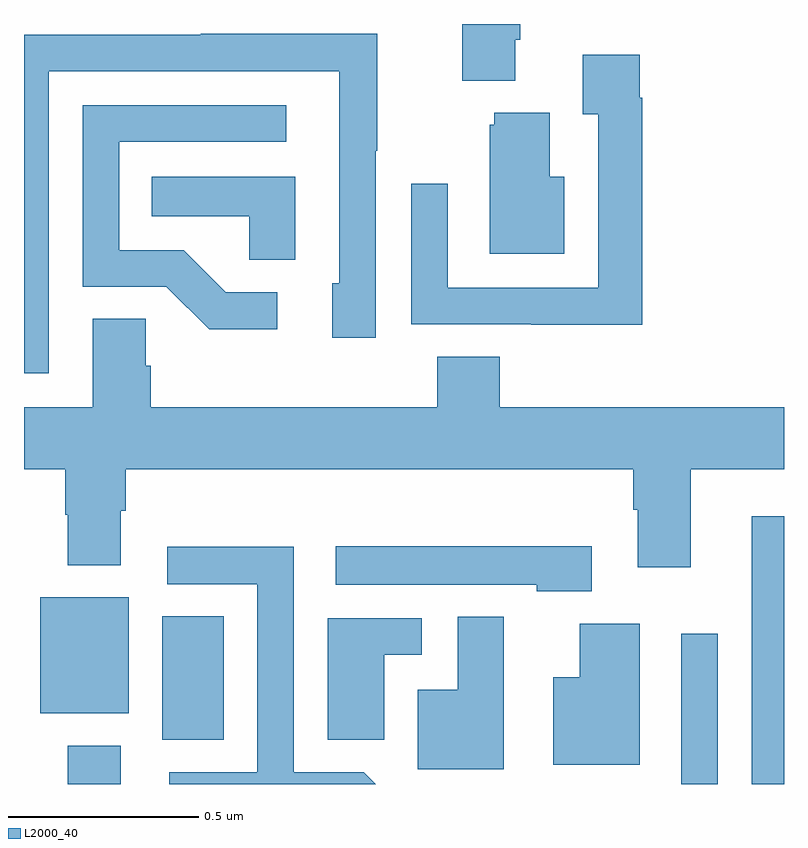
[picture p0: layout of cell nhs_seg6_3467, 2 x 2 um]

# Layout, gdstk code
import gdstk
lib = gdstk.Library(unit=1e-6, precision=1e-09)
def R(c, l, rs):  # rectangles x0, y0, x1, y1
    for r in rs: c.add(gdstk.rectangle(r[:2], r[2:], *l))
def P(c, l, *ps):  # polygons
    for p in ps: c.add(gdstk.Polygon(p, *l))
L2000_40 = (2000, 40)

nhs_seg6_3467 = lib.new_cell('nhs_seg6_3467')
R(nhs_seg6_3467, L2000_40, [(157.115,954.5,157.255,954.601), (158.73,954.5,158.826,954.895), (158.915,954.5,159,955.204), (157.364,954.616,157.525,954.941), (157.043,954.686,157.276,954.991)])
P(nhs_seg6_3467, L2000_40, [(158.293,956.458),(158.306,956.458),(158.306,956.5),(158.153,956.5),(158.153,956.351),(158.293,956.351)],
  [(157.065,956.376),(157.83,956.376),(157.83,955.818),(157.811,955.818),(157.811,955.674),(157.926,955.674),(157.926,956.167),(157.929,956.167),(157.929,956.474),(157.465,956.474),(157.465,956.472),(157,956.472),(157,955.581),(157.065,955.581)],
  [(158.627,956.306),(158.62,956.306),(158.62,956.419),(158.471,956.419),(158.471,956.263),(158.511,956.263),(158.511,955.806),(158.115,955.806),(158.115,956.08),(158.019,956.08),(158.019,955.71),(158.335,955.71),(158.335,955.709),(158.627,955.709)],
  [(157.666,955.794),(157.531,955.794),(157.42,955.905),(157.251,955.905),(157.251,956.19),(157.69,956.19),(157.69,956.286),(157.155,956.286),(157.155,955.809),(157.374,955.809),(157.487,955.697),(157.666,955.697)],
  [(158.422,956.098),(158.383,956.098),(158.383,956.266),(158.237,956.266),(158.237,956.235),(158.225,956.235),(158.225,955.895),(158.422,955.895)],
  [(157.714,956.098),(157.336,956.098),(157.336,955.994),(157.593,955.994),(157.593,955.879),(157.714,955.879)],
  [(157.181,955.492),(157,955.492),(157,955.328),(157.108,955.328),(157.108,955.208),(157.115,955.208),(157.115,955.076),(157.255,955.076),(157.255,955.219),(157.268,955.219),(157.268,955.328),(158.603,955.328),(158.603,955.222),(158.615,955.222),(158.615,955.071),(158.755,955.071),(158.755,955.328),(159,955.328),(159,955.492),(158.252,955.492),(158.252,955.625),(158.087,955.625),(158.087,955.492),(157.334,955.492),(157.334,955.601),(157.32,955.601),(157.32,955.724),(157.181,955.724)],
  [(158.494,955.126),(157.821,955.126),(157.821,955.025),(158.349,955.025),(158.349,955.007),(158.494,955.007)],
  [(157.894,954.531),(157.71,954.531),(157.71,955.124),(157.377,955.124),(157.377,955.026),(157.614,955.026),(157.614,954.531),(157.382,954.531),(157.382,954.5),(157.925,954.5)],
  [(158.263,954.94),(158.141,954.94),(158.141,954.748),(158.036,954.748),(158.036,954.539),(158.263,954.539)],
  [(157.948,954.84),(158.047,954.84),(158.047,954.936),(157.799,954.936),(157.799,954.616),(157.948,954.616)],
  [(158.62,954.922),(158.462,954.922),(158.462,954.781),(158.393,954.781),(158.393,954.551),(158.62,954.551)])

lib.write_gds('nhs_seg6_3467.gds')
